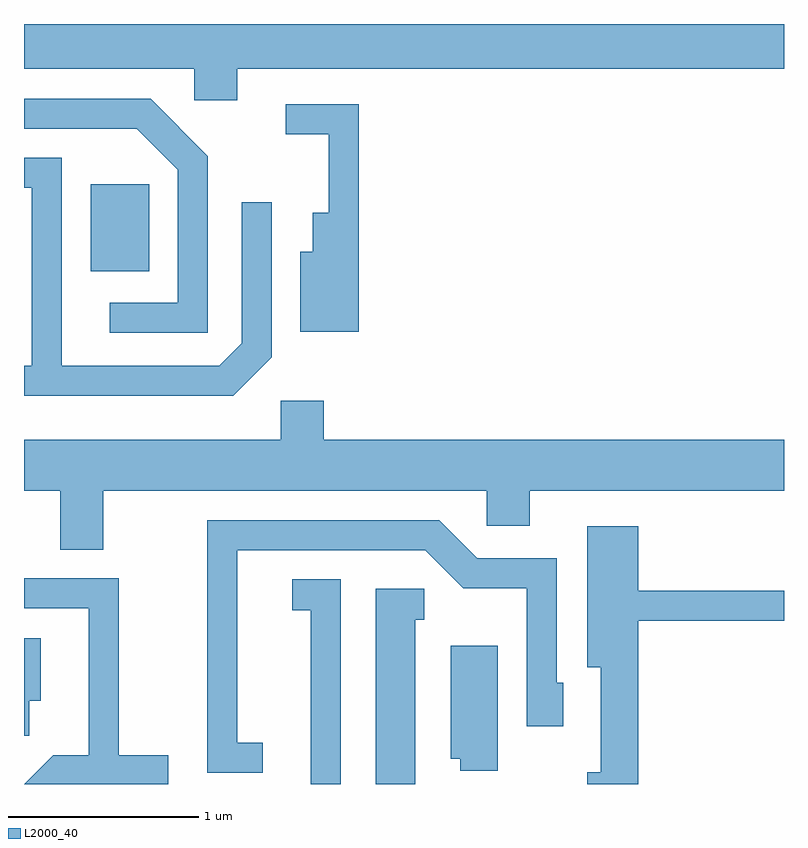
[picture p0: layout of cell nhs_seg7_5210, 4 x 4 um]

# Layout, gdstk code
import gdstk
lib = gdstk.Library(unit=1e-6, precision=1e-09)
def R(c, l, rs):  # rectangles x0, y0, x1, y1
    for r in rs: c.add(gdstk.rectangle(r[:2], r[2:], *l))
def P(c, l, *ps):  # polygons
    for p in ps: c.add(gdstk.Polygon(p, *l))
L2000_40 = (2000, 40)

nhs_seg7_5210 = lib.new_cell('nhs_seg7_5210')
R(nhs_seg7_5210, L2000_40, [(343.961,1790.951,344.269,1791.409)])
P(nhs_seg7_5210, L2000_40, [(344.734,1792.016),(347.611,1792.016),(347.611,1792.252),(343.611,1792.252),(343.611,1792.016),(344.506,1792.016),(344.506,1791.851),(344.734,1791.851)],
  [(344.579,1791.557),(344.277,1791.859),(343.611,1791.859),(343.611,1791.701),(344.204,1791.701),(344.421,1791.484),(344.421,1790.784),(344.063,1790.784),(344.063,1790.626),(344.579,1790.626)],
  [(345.374,1791.829),(344.988,1791.829),(344.988,1791.671),(345.216,1791.671),(345.216,1791.259),(345.131,1791.259),(345.131,1791.054),(345.066,1791.054),(345.066,1790.631),(345.374,1790.631)],
  [(344.914,1790.499),(344.914,1791.313),(344.756,1791.313),(344.756,1790.572),(344.639,1790.454),(343.809,1790.454),(343.809,1791.549),(343.611,1791.549),(343.611,1791.391),(343.651,1791.391),(343.651,1790.454),(343.611,1790.454),(343.611,1790.296),(344.712,1790.296)],
  [(344.029,1789.796),(346.046,1789.796),(346.046,1789.611),(346.274,1789.611),(346.274,1789.796),(347.611,1789.796),(347.611,1790.064),(345.189,1790.064),(345.189,1790.269),(344.961,1790.269),(344.961,1790.064),(343.611,1790.064),(343.611,1789.796),(343.801,1789.796),(343.801,1789.486),(344.029,1789.486)],
  [(344.868,1788.469),(344.734,1788.469),(344.734,1789.481),(345.724,1789.481),(345.924,1789.281),(346.256,1789.281),(346.256,1788.556),(346.449,1788.556),(346.449,1788.784),(346.414,1788.784),(346.414,1789.439),(345.997,1789.439),(345.797,1789.639),(344.576,1789.639),(344.576,1788.311),(344.868,1788.311)],
  [(346.844,1789.111),(347.611,1789.111),(347.611,1789.269),(346.844,1789.269),(346.844,1789.609),(346.576,1789.609),(346.576,1788.866),(346.646,1788.866),(346.646,1788.314),(346.576,1788.314),(346.576,1788.252),(346.844,1788.252)],
  [(344.369,1788.404),(344.109,1788.404),(344.109,1789.334),(343.611,1789.334),(343.611,1789.176),(343.951,1789.176),(343.951,1788.404),(343.764,1788.404),(343.612,1788.252),(344.369,1788.252)],
  [(345.279,1789.329),(345.023,1789.329),(345.023,1789.166),(345.121,1789.166),(345.121,1788.252),(345.279,1788.252)],
  [(345.669,1789.116),(345.718,1789.116),(345.718,1789.279),(345.461,1789.279),(345.461,1788.252),(345.669,1788.252)],
  [(343.639,1788.691),(343.699,1788.691),(343.699,1789.019),(343.611,1789.019),(343.611,1788.506),(343.639,1788.506)],
  [(346.104,1788.979),(345.856,1788.979),(345.856,1788.386),(345.906,1788.386),(345.906,1788.321),(346.104,1788.321)])

lib.write_gds('nhs_seg7_5210.gds')
